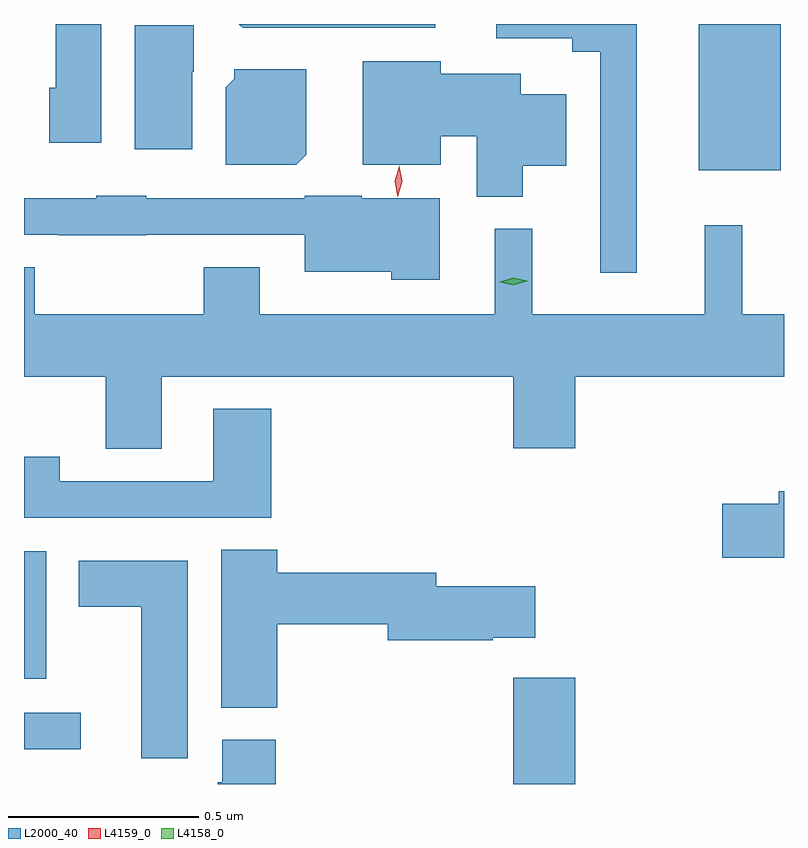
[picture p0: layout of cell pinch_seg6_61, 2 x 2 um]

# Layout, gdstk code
import gdstk
lib = gdstk.Library(unit=1e-6, precision=1e-09)
def R(c, l, rs):  # rectangles x0, y0, x1, y1
    for r in rs: c.add(gdstk.rectangle(r[:2], r[2:], *l))
def P(c, l, *ps):  # polygons
    for p in ps: c.add(gdstk.Polygon(p, *l))
L2000_40 = (2000, 40)
L4158_0 = (4158, 0)
L4159_0 = (4159, 0)

pinch_seg6_61 = lib.new_cell('pinch_seg6_61')
R(pinch_seg6_61, L2000_40, [(1004.168,946.264,1004.332,946.543), (1002.881,946.355,1003.03,946.452), (1002.881,946.541,1002.94,946.876), (1004.657,947.879,1004.872,948.264)])
P(pinch_seg6_61, L2000_40, [(1004.494,948.264),(1004.124,948.264),(1004.124,948.227),(1004.324,948.227),(1004.324,948.191),(1004.397,948.191),(1004.397,947.61),(1004.494,947.61)],
  [(1003.963,948.264),(1003.446,948.264),(1003.456,948.254),(1003.963,948.254)],
  [(1003.084,948.264),(1002.965,948.264),(1002.965,948.096),(1002.947,948.096),(1002.947,947.952),(1003.084,947.952)],
  [(1003.324,948.138),(1003.328,948.138),(1003.328,948.261),(1003.172,948.261),(1003.172,947.934),(1003.324,947.934)],
  [(1004.194,947.891),(1004.308,947.891),(1004.308,948.079),(1004.188,948.079),(1004.188,948.133),(1003.978,948.133),(1003.978,948.166),(1003.772,948.166),(1003.772,947.894),(1003.978,947.894),(1003.978,947.969),(1004.072,947.969),(1004.072,947.81),(1004.194,947.81)],
  [(1003.624,947.92),(1003.624,948.145),(1003.434,948.145),(1003.434,948.12),(1003.412,948.098),(1003.412,947.894),(1003.598,947.894)],
  [(1003.975,947.806),(1003.77,947.806),(1003.77,947.812),(1003.62,947.812),(1003.62,947.805),(1003.203,947.805),(1003.203,947.812),(1003.071,947.812),(1003.071,947.806),(1002.881,947.806),(1002.881,947.709),(1002.971,947.709),(1002.971,947.708),(1003.203,947.708),(1003.203,947.709),(1003.62,947.709),(1003.62,947.612),(1003.848,947.612),(1003.848,947.591),(1003.975,947.591)],
  [(1003.243,947.336),(1004.168,947.336),(1004.168,947.148),(1004.332,947.148),(1004.332,947.336),(1004.881,947.336),(1004.881,947.5),(1004.771,947.5),(1004.771,947.734),(1004.672,947.734),(1004.672,947.5),(1004.219,947.5),(1004.219,947.725),(1004.12,947.725),(1004.12,947.5),(1003.501,947.5),(1003.501,947.624),(1003.354,947.624),(1003.354,947.5),(1002.909,947.5),(1002.909,947.624),(1002.881,947.624),(1002.881,947.336),(1003.096,947.336),(1003.096,947.146),(1003.243,947.146)],
  [(1003.532,947.251),(1003.379,947.251),(1003.379,947.061),(1002.975,947.061),(1002.975,947.125),(1002.881,947.125),(1002.881,946.965),(1003.532,946.965)],
  [(1004.881,947.035),(1004.867,947.035),(1004.867,947.001),(1004.718,947.001),(1004.718,946.859),(1004.881,946.859)],
  [(1003.547,946.684),(1003.838,946.684),(1003.838,946.642),(1004.114,946.642),(1004.114,946.649),(1004.227,946.649),(1004.227,946.784),(1003.966,946.784),(1003.966,946.82),(1003.547,946.82),(1003.547,946.88),(1003.4,946.88),(1003.4,946.465),(1003.547,946.465)],
  [(1003.312,946.852),(1003.025,946.852),(1003.025,946.73),(1003.19,946.73),(1003.19,946.332),(1003.312,946.332)],
  [(1003.544,946.38),(1003.403,946.38),(1003.403,946.269),(1003.391,946.269),(1003.391,946.264),(1003.544,946.264)])
P(pinch_seg6_61, L4158_0, [(1004.169,947.576),(1004.133,947.585),(1004.133,947.585),(1004.133,947.586),(1004.169,947.596),(1004.205,947.588),(1004.205,947.587),(1004.205,947.587)])
P(pinch_seg6_61, L4159_0, [(1003.865,947.809),(1003.865,947.81),(1003.857,947.85),(1003.868,947.89),(1003.868,947.891),(1003.868,947.89),(1003.877,947.85),(1003.865,947.81)])

lib.write_gds('pinch_seg6_61.gds')
